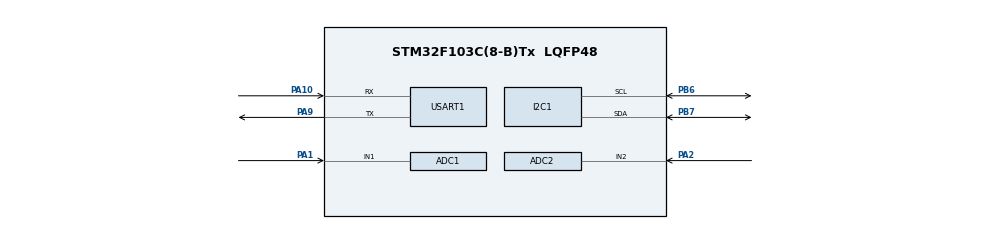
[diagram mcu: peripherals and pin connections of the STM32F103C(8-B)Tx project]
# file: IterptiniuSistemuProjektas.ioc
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ADC1.Channel-0\#ChannelRegularConversion=ADC_CHANNEL_1
ADC1.NbrOfConversionFlag=1
ADC1.Rank-0\#ChannelRegularConversion=1
ADC1.SamplingTime-0\#ChannelRegularConversion=ADC_SAMPLETIME_1CYCLE_5
ADC1.master=1
ADC2.Channel-0\#ChannelRegularConversion=ADC_CHANNEL_2
ADC2.NbrOfConversionFlag=1
ADC2.Rank-0\#ChannelRegularConversion=1
ADC2.SamplingTime-0\#ChannelRegularConversion=ADC_SAMPLETIME_1CYCLE_5
Mcu.Family=STM32F1
Mcu.Name=STM32F103C(8-B)Tx
Mcu.Package=LQFP48
NVIC.PriorityGroup=NVIC_PRIORITYGROUP_4
NVIC.TIM1_UP_IRQn=true\:15\:0\:false\:false\:true\:false\:true\:true
NVIC.TimeBase=TIM1_UP_IRQn
NVIC.TimeBaseIP=TIM1
NVIC.USART1_IRQn=true\:0\:0\:false\:false\:true\:true\:true\:true
PA1.Signal=ADCx_IN1
PA10.Mode=Asynchronous
PA10.Signal=USART1_RX
PA2.Signal=ADCx_IN2
PA9.Mode=Asynchronous
PA9.Signal=USART1_TX
PB6.Mode=I2C
PB6.Signal=I2C1_SCL
PB7.Mode=I2C
PB7.Signal=I2C1_SDA
ProjectManager.HeapSize=0x200
ProjectManager.StackSize=0x400
ProjectManager.TargetToolchain=STM32CubeIDE
RCC.APB1Freq_Value=8000000
RCC.APB2Freq_Value=8000000
SH.ADCx_IN1.0=ADC1_IN1,IN1
SH.ADCx_IN2.0=ADC2_IN2,IN2
USART1.VirtualMode=VM_ASYNC
VP_SYS_VS_ND.Mode=No_Debug
VP_SYS_VS_tim1.Mode=TIM1
board=custom

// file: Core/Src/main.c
/* USER CODE BEGIN Header */
/**
  ******************************************************************************
  * @file           : main.c
  * @brief          : Main program body
  ******************************************************************************
  */
/* USER CODE END Header */
#include "main.h"

/* USER CODE BEGIN Includes */
#include "lcd_i2c.h"
#include <stdio.h>
#include <string.h>
/* USER CODE END Includes */

/* USER CODE BEGIN PD */
#define ADC_RESOLUTION  4095.0f
#define VREF            3.26f // Pakeistas is 3.3V dėl tikslesniu skaiciavimu
#define KELVIN          273.15f
#define LM335_MV_PER_K  0.01f
#define DALIKLIS        0.923f // R1/(R1+R2) itampos daliklis
/* USER CODE END PD */

ADC_HandleTypeDef hadc1;
ADC_HandleTypeDef hadc2;
I2C_HandleTypeDef hi2c1;
UART_HandleTypeDef huart1;

/* USER CODE BEGIN PV */
float ch1_current, ch1_max, ch1_min;
float ch2_current, ch2_max, ch2_min;
uint32_t ch1_count, ch2_count;
uint8_t uart_buf[128];
uint8_t uart_len;
/* USER CODE END PV */

void SystemClock_Config(void);
static void MX_GPIO_Init(void);
static void MX_I2C1_Init(void);
static void MX_ADC1_Init(void);
static void MX_ADC2_Init(void);
static void MX_USART1_UART_Init(void);

/* USER CODE BEGIN 0 */
float adc_to_temperature(uint16_t adc_raw) {
    float voltage = (adc_raw / ADC_RESOLUTION) * VREF;
    float v_lm335 = voltage / DALIKLIS;
    float kelvin  = v_lm335 / LM335_MV_PER_K;
    return kelvin - KELVIN;
}
/* USER CODE END 0 */

int main(void)
{

  HAL_Init();

  SystemClock_Config();

  MX_GPIO_Init();
  MX_I2C1_Init();
  MX_ADC1_Init();
  MX_ADC2_Init();
  MX_USART1_UART_Init();

  /* USER CODE BEGIN 2 */
  ch1_max = -999.0f; ch1_min = 999.0f; ch1_count = 0;
  ch2_max = -999.0f; ch2_min = 999.0f; ch2_count = 0;

  uint32_t lastLCD  = 0;
  uint32_t lastUART = 0;
  uint32_t lastADC = 0;
  uint16_t adc_ch1, adc_ch2;
  uint8_t puslapis = 0;
  char buf[32];

  lcd_init();
  HAL_Delay(100);
  lcd_put_cur(0, 0);
  lcd_send_string("Paledziama...");
  /* USER CODE END 2 */

  while (1)
  {

  /* USER CODE BEGIN 3 */

    // ADC skaitymas
      if (HAL_GetTick() - lastADC >= 500) {

        HAL_ADC_Start(&hadc1);
        HAL_ADC_PollForConversion(&hadc1, HAL_MAX_DELAY);
        adc_ch1 = HAL_ADC_GetValue(&hadc1);

        HAL_ADC_Start(&hadc2);
        HAL_ADC_PollForConversion(&hadc2, HAL_MAX_DELAY);
        adc_ch2 = HAL_ADC_GetValue(&hadc2);

        ch1_current = adc_to_temperature(adc_ch1);
        ch2_current = adc_to_temperature(adc_ch2);

        if (ch1_current > ch1_max) ch1_max = ch1_current;
        if (ch1_current < ch1_min) ch1_min = ch1_current;
        if (ch2_current > ch2_max) ch2_max = ch2_current;
        if (ch2_current < ch2_min) ch2_min = ch2_current;

        ch1_count++;
        ch2_count++;

        lastADC = HAL_GetTick();
    }
    // LCD - kas 2s
    if (HAL_GetTick() - lastLCD >= 2000) {
        lcd_clear();

        switch(puslapis)
        {
            case 0:
              lcd_put_cur(0, 0);
              sprintf(buf, "1:%.1fC - %.1fC", ch1_min, ch1_max);
              lcd_send_string(buf);

              lcd_put_cur(1, 0);
              sprintf(buf, "2:%.1fC - %.1fC", ch2_min, ch2_max);
              lcd_send_string(buf);

              break;
            case 1:
              lcd_put_cur(0, 0);
              sprintf(buf, "1:%.1fC", ch1_current);
              lcd_send_string(buf);

              lcd_put_cur(1, 0);
              sprintf(buf, "2:%.1fC", ch2_current);
              lcd_send_string(buf);

        }
        puslapis++;
        if(puslapis>1) puslapis = 0;

        lastLCD = HAL_GetTick();
    }

    // UART - kas 4s
    if (HAL_GetTick() - lastUART >= 4000) {
        uart_len = sprintf((char*)uart_buf,
            "CH1: %.2fC max:%.2fC min:%.2fC\r\n"
            "CH2: %.2fC max:%.2fC min:%.2fC\r\n",
            ch1_current, ch1_max, ch1_min,
            ch2_current, ch2_max, ch2_min);
        HAL_UART_Transmit(&huart1, uart_buf, uart_len, 200);

        lastUART = HAL_GetTick();
    }

  }
  /* USER CODE END 3 */
}

void SystemClock_Config(void)
{
  RCC_OscInitTypeDef RCC_OscInitStruct = {0};
  RCC_ClkInitTypeDef RCC_ClkInitStruct = {0};
  RCC_PeriphCLKInitTypeDef PeriphClkInit = {0};

  RCC_OscInitStruct.OscillatorType = RCC_OSCILLATORTYPE_HSI;
  RCC_OscInitStruct.HSIState = RCC_HSI_ON;
  RCC_OscInitStruct.HSICalibrationValue = RCC_HSICALIBRATION_DEFAULT;
  RCC_OscInitStruct.PLL.PLLState = RCC_PLL_NONE;
  if (HAL_RCC_OscConfig(&RCC_OscInitStruct) != HAL_OK) { Error_Handler(); }

  RCC_ClkInitStruct.ClockType = RCC_CLOCKTYPE_HCLK|RCC_CLOCKTYPE_SYSCLK
                              |RCC_CLOCKTYPE_PCLK1|RCC_CLOCKTYPE_PCLK2;
  RCC_ClkInitStruct.SYSCLKSource = RCC_SYSCLKSOURCE_HSI;
  RCC_ClkInitStruct.AHBCLKDivider = RCC_SYSCLK_DIV1;
  RCC_ClkInitStruct.APB1CLKDivider = RCC_HCLK_DIV2;
  RCC_ClkInitStruct.APB2CLKDivider = RCC_HCLK_DIV1;
  if (HAL_RCC_ClockConfig(&RCC_ClkInitStruct, FLASH_LATENCY_0) != HAL_OK) { Error_Handler(); }

  PeriphClkInit.PeriphClockSelection = RCC_PERIPHCLK_ADC;
  PeriphClkInit.AdcClockSelection = RCC_ADCPCLK2_DIV2;
  if (HAL_RCCEx_PeriphCLKConfig(&PeriphClkInit) != HAL_OK) { Error_Handler(); }
}

static void MX_ADC1_Init(void)
{
  ADC_ChannelConfTypeDef sConfig = {0};

  hadc1.Instance = ADC1;
  hadc1.Init.ScanConvMode = ADC_SCAN_DISABLE;
  hadc1.Init.ContinuousConvMode = DISABLE;
  hadc1.Init.DiscontinuousConvMode = DISABLE;
  hadc1.Init.ExternalTrigConv = ADC_SOFTWARE_START;
  hadc1.Init.DataAlign = ADC_DATAALIGN_RIGHT;
  hadc1.Init.NbrOfConversion = 1;
  if (HAL_ADC_Init(&hadc1) != HAL_OK) { Error_Handler(); }

  sConfig.Channel = ADC_CHANNEL_1;
  sConfig.Rank = ADC_REGULAR_RANK_1;
  sConfig.SamplingTime = ADC_SAMPLETIME_239CYCLES_5;
  if (HAL_ADC_ConfigChannel(&hadc1, &sConfig) != HAL_OK) { Error_Handler(); }
}

static void MX_ADC2_Init(void)
{
  ADC_ChannelConfTypeDef sConfig = {0};

  hadc2.Instance = ADC2;
  hadc2.Init.ScanConvMode = ADC_SCAN_DISABLE;
  hadc2.Init.ContinuousConvMode = DISABLE;
  hadc2.Init.DiscontinuousConvMode = DISABLE;
  hadc2.Init.ExternalTrigConv = ADC_SOFTWARE_START;
  hadc2.Init.DataAlign = ADC_DATAALIGN_RIGHT;
  hadc2.Init.NbrOfConversion = 1;
  if (HAL_ADC_Init(&hadc2) != HAL_OK) { Error_Handler(); }

  sConfig.Channel = ADC_CHANNEL_2;
  sConfig.Rank = ADC_REGULAR_RANK_1;
  sConfig.SamplingTime = ADC_SAMPLETIME_239CYCLES_5;
  if (HAL_ADC_ConfigChannel(&hadc2, &sConfig) != HAL_OK) { Error_Handler(); }
}

static void MX_I2C1_Init(void)
{
  hi2c1.Instance = I2C1;
  hi2c1.Init.ClockSpeed = 100000;
  hi2c1.Init.DutyCycle = I2C_DUTYCYCLE_2;
  hi2c1.Init.OwnAddress1 = 0;
  hi2c1.Init.AddressingMode = I2C_ADDRESSINGMODE_7BIT;
  hi2c1.Init.DualAddressMode = I2C_DUALADDRESS_DISABLE;
  hi2c1.Init.OwnAddress2 = 0;
  hi2c1.Init.GeneralCallMode = I2C_GENERALCALL_DISABLE;
  hi2c1.Init.NoStretchMode = I2C_NOSTRETCH_DISABLE;
  if (HAL_I2C_Init(&hi2c1) != HAL_OK) { Error_Handler(); }
}

static void MX_USART1_UART_Init(void)
{
  huart1.Instance = USART1;
  huart1.Init.BaudRate = 115200;
  huart1.Init.WordLength = UART_WORDLENGTH_8B;
  huart1.Init.StopBits = UART_STOPBITS_1;
  huart1.Init.Parity = UART_PARITY_NONE;
  huart1.Init.Mode = UART_MODE_TX_RX;
  huart1.Init.HwFlowCtl = UART_HWCONTROL_NONE;
  huart1.Init.OverSampling = UART_OVERSAMPLING_16;
  if (HAL_UART_Init(&huart1) != HAL_OK) { Error_Handler(); }
}

static void MX_GPIO_Init(void)
{
  __HAL_RCC_GPIOA_CLK_ENABLE();
  __HAL_RCC_GPIOB_CLK_ENABLE();
}

/* USER CODE BEGIN 4 */
void HAL_UART_TxCpltCallback(UART_HandleTypeDef *huart) {
    if (huart->Instance == USART1) {}
}
/* USER CODE END 4 */

void HAL_TIM_PeriodElapsedCallback(TIM_HandleTypeDef *htim)
{
  if (htim->Instance == TIM1) { HAL_IncTick(); }
}

void Error_Handler(void)
{
  __disable_irq();
  while (1) {}
}
